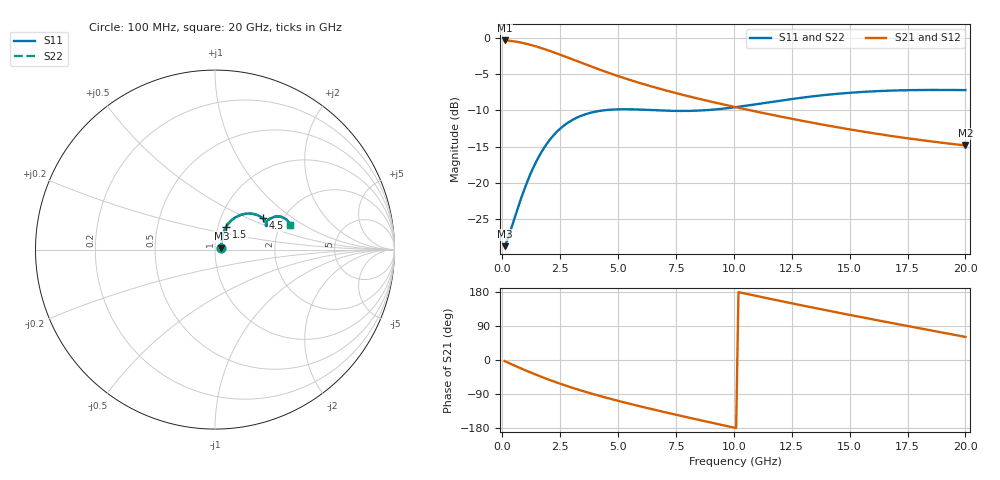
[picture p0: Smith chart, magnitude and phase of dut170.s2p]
! Touchstone file exported from HFSS 2024.1.0
!  File:  C:/UserFiles/LocalFiles/RDL_TSV_Batchsim/temp_RDL_TSV_170_1779436378.aedt
!  Generated:  04:10:56 PM May 22, 2026
!  Design:  RDL_TSV
!  Project:  temp_RDL_TSV_170_1779436378
!  Setup:  Setup1
!  Solution:  Sweep
! Variables:
!  dtsv = 13.15um
!  hbump = 3um
!  htsv = 89.91um
!  ldown = 677.24um
!  lrdl = 536.97um
!  p = 40
!  p1 = 59.42um
!  rhole = 10um
!  subl = 4179.6um
!  t = 450um
!  tdown = 3.11um
!  trdl = 3.94um
!  viad = 10um
!  wdown = 10.29um
!  wrdl = 13.62um
!  xbump = 18um
# GHz S MA R 50.000000
! Terminal data exported
! Port[1] = TM1_1_T1
! Port[2] = TM1_4_T1
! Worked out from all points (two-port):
!   200 points, 100 MHz to 20 GHz, reference 50 ohm
!   highest |S21| = -0.32 dB at 100 MHz (marker M1); lowest = -14.9 dB at 20 GHz (marker M2)
!   |S21| within 3 dB of the highest: start of sweep to 3.341 GHz
!   lowest |S11| = -28.8 dB at 100 MHz (marker M3), VSWR 1.08, Z = 53.7 + j0.885 ohm
!   |S11| at or under -10 dB: start of sweep to 4.361 GHz; 6.764 GHz to 8.634 GHz (1.87 GHz wide, 24.3 % of centre)
!   |S22| runs from -28.8 to -7.1 dB; largest |S21 - S12| = 3.2e-14
!   S11 on the Smith chart (normalised r, x): 100 MHz: 1.07, +0.02; 1.5 GHz: 1.10, +0.29; 4.5 GHz: 1.58, +0.61; 20 GHz: 2.25, +0.75
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0.1  0.03632 13.1  0.9641 -2.8  0.9641 -2.8  0.03632 13.1
! Gamma 0 0 0 0
! Port Impedance 50 0 50 0
0.2  0.0394 24.4  0.9623 -5.7  0.9623 -5.7  0.0394 24.4
0.4  0.04901 40.9  0.9555 -11.2  0.9555 -11.2  0.049 40.9
0.7  0.06895 55.2  0.939 -19.4  0.939 -19.4  0.06894 55.2
1.1  0.1035 63.1  0.9091 -29.9  0.9091 -29.9  0.1035 63.1
1.5  0.1433 63.8  0.8726 -39.8  0.8726 -39.8  0.1432 63.8
1.9  0.1834 61.0  0.8321 -49.3  0.8321 -49.3  0.1833 61.0
2.4  0.2284 55.4  0.779 -60.5  0.779 -60.5  0.2283 55.4
2.9  0.2642 49.2  0.7265 -70.8  0.7265 -70.8  0.264 49.2
3.5  0.2941 42.3  0.6674 -82.3  0.6674 -82.3  0.2938 42.3
4  0.3095 37.4  0.6227 -91.2  0.6227 -91.2  0.3092 37.4
4.5  0.3181 33.2  0.5825 -99.7  0.5825 -99.7  0.3177 33.2
5  0.3217 30.0  0.5466 -107.7  0.5466 -107.7  0.3212 30.0
5.6  0.3217 27.2  0.5086 -117.0  0.5086 -117.0  0.3211 27.2
6.8  0.3161 24.6  0.4464 -134.6  0.4464 -134.6  0.3154 24.7
8.3  0.3145 25.7  0.387 -155.5  0.387 -155.5  0.3137 25.8
10.1  0.3333 28.5  0.3323 -179.6  0.3323 -179.6  0.3328 28.7
11.7  0.3632 29.2  0.2935 159.7  0.2935 159.7  0.363 29.4
13.4  0.3955 27.7  0.2596 138.4  0.2596 138.4  0.3957 28.0
15  0.4187 25.2  0.2337 119.0  0.2337 119.0  0.4192 25.5
16.7  0.4331 22.2  0.2116 99.0  0.2116 99.0  0.4338 22.5
20  0.4371 18.0  0.1809 61.0  0.1809 61.0  0.4383 18.2
